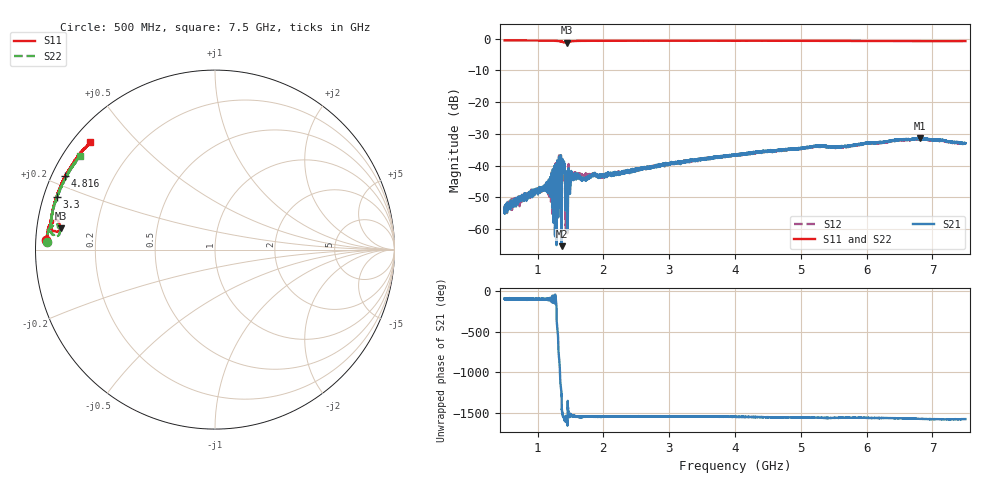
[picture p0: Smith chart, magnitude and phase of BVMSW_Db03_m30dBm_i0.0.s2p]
!Keysight Technologies,M9374A,MY55442783,A.12.55.05
!Date: Friday, May 21, 2021 11:20:04
!Correction: S11(Full 2 Port(1,2))
!S21(Full 2 Port(1,2))
!S12(Full 2 Port(1,2))
!S22(Full 2 Port(1,2))
!S2P File: Measurements: S11, S21, S12, S22:
# Hz S  RI  R 50
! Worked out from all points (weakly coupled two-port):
!   7001 points, 500 MHz to 7.5 GHz, reference 50 ohm
!   highest |S21| = -31.38 dB at 6.809 GHz (marker M1); lowest = -65.4 dB at 1.367 GHz (marker M2)
!   lowest |S11| = -1.2 dB at 1.451 GHz (marker M3), VSWR 14.16, Z = 3.55 + j3.44 ohm
!   |S11| at or under -10 dB: nowhere
!   |S22| runs from -1.2 to -0.5 dB; largest |S21 - S12| = 0.0051
!   S11 on the Smith chart (normalised r, x): 500 MHz: 0.03, +0.03; 3.3 GHz: 0.04, +0.16; 4.816 GHz: 0.04, +0.23; 7.5 GHz: 0.05, +0.37
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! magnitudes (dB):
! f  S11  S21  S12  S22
! 500 MHz  -0.5  -53.7  -53.0  -0.6
! 1.257 GHz  -0.6  -40.6  -40.2  -0.7
! 1.329 GHz  -0.7  -37.4  -36.8  -0.7
! 1.341 GHz  -0.8  -50.6  -50.7  -0.8
! 1.367 GHz  -0.8  -65.4  -55.9  -0.9
! 1.382 GHz  -1.0  -38.5  -41.8  -1.0
! 1.399 GHz  -1.1  -39.1  -40.3  -1.1
! 1.413 GHz  -1.2  -40.7  -43.8  -1.1
! 1.431 GHz  -1.1  -46.7  -53.1  -1.2
! 1.451 GHz  -1.2  -49.4  -55.2  -1.2
! 1.486 GHz  -1.0  -46.0  -44.8  -1.0
! 1.5 GHz  -0.9  -45.5  -44.8  -0.9
! 1.667 GHz  -0.7  -43.8  -43.0  -0.7
! 1.976 GHz  -0.6  -43.2  -43.0  -0.7
! 2.834 GHz  -0.6  -40.1  -39.8  -0.6
! 3.3 GHz  -0.6  -38.9  -38.9  -0.6
! 4 GHz  -0.6  -36.6  -36.9  -0.7
! 4.816 GHz  -0.6  -34.8  -34.9  -0.7
! 5.167 GHz  -0.6  -34.0  -34.2  -0.7
! 6.334 GHz  -0.7  -32.3  -32.4  -0.7
! 6.809 GHz  -0.7  -31.4  -31.6  -0.7
! 7.5 GHz  -0.7  -32.9  -33.2  -0.8
